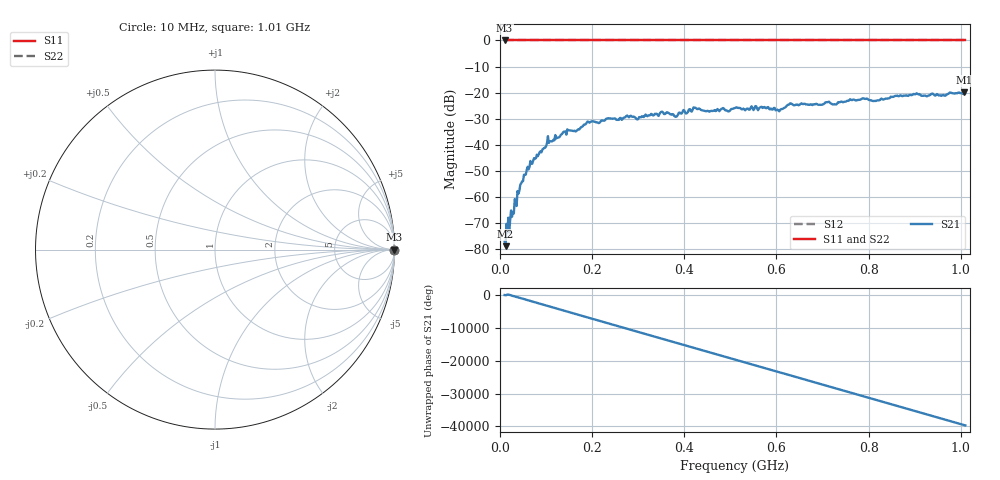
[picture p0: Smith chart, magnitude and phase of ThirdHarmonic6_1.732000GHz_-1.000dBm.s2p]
! 8/16/2025 8:52:08 PM
! C:\ANRITSUVNA\TEMP\TEMP.S2P
! CHANNEL.1
! TR.MEASUREMENT
! RAW.DATA
! RF.CORRECTION.OFF
! AVERAGING.OFF
! IF.BANDWIDTH: 5KHZ
! SWEEPTYPE:  FREQ.SWEEP(Linear)
! Reference Plane Port Info
! PORT:  PORT1  PORT2
! DISTANCE:  0  m  0  m
! TIME:  0  s  0  s
! PHASE.OFFSET:  0  deg.  0  deg.
! LOSS:  0  dB  0  dB
! REF.LOSS:  0  dB  0  dB
! REF.FREQ:  0  Hz  0  Hz
! Power Info
! POWER:  -20  dBm  -20  dBm
! EFF.POWER:  -20  dBm  -20  dBm
! SOURCE.ATTEN:  0  dB  0  dB
! TEST.ATTEN:  0  dB  0  dB
# GHZ S RI R 50.0
! FREQ.GHZ  S11RE  S11IM  S21RE  S21IM  S12RE  S12IM  S22RE  S22IM
!; PortSelection: Port_12
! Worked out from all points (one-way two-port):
!   501 points, 10 MHz to 1.01 GHz, reference 50 ohm
!   highest |S21| = -19.92 dB at 1.008 GHz (marker M1); lowest = -79.0 dB at 12 MHz (marker M2)
!   lowest |S11| = 0.0 dB at 10 MHz (marker M3)
!   |S11| at or under -10 dB: nowhere
!   |S22| runs from 0.0 to 0.0 dB; largest |S21 - S12| = 1.1
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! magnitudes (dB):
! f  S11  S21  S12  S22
! 10 MHz  0.0  -77.2  0.0  0.0
! 12 MHz  0.0  -79.0  0.0  0.0
! 42 MHz  0.0  -57.7  0.0  0.0
! 62 MHz  0.0  -49.5  0.0  0.0
! 106 MHz  0.0  -39.3  0.0  0.0
! 178 MHz  0.0  -33.2  0.0  0.0
! 192 MHz  0.0  -31.2  0.0  0.0
! 234 MHz  0.0  -29.9  0.0  0.0
! 298 MHz  0.0  -30.3  0.0  0.0
! 344 MHz  0.0  -29.0  0.0  0.0
! 382 MHz  0.0  -29.3  0.0  0.0
! 424 MHz  0.0  -25.8  0.0  0.0
! 452 MHz  0.0  -27.1  0.0  0.0
! 510 MHz  0.0  -25.9  0.0  0.0
! 570 MHz  0.0  -25.9  0.0  0.0
! 602 MHz  0.0  -26.6  0.0  0.0
! 630 MHz  0.0  -24.1  0.0  0.0
! 678 MHz  0.0  -24.8  0.0  0.0
! 844 MHz  0.0  -22.2  0.0  0.0
! 902 MHz  0.0  -20.6  0.0  0.0
! 1.008 GHz  0.0  -19.9  0.0  0.0
! 1.01 GHz  0.0  -20.4  0.0  0.0
